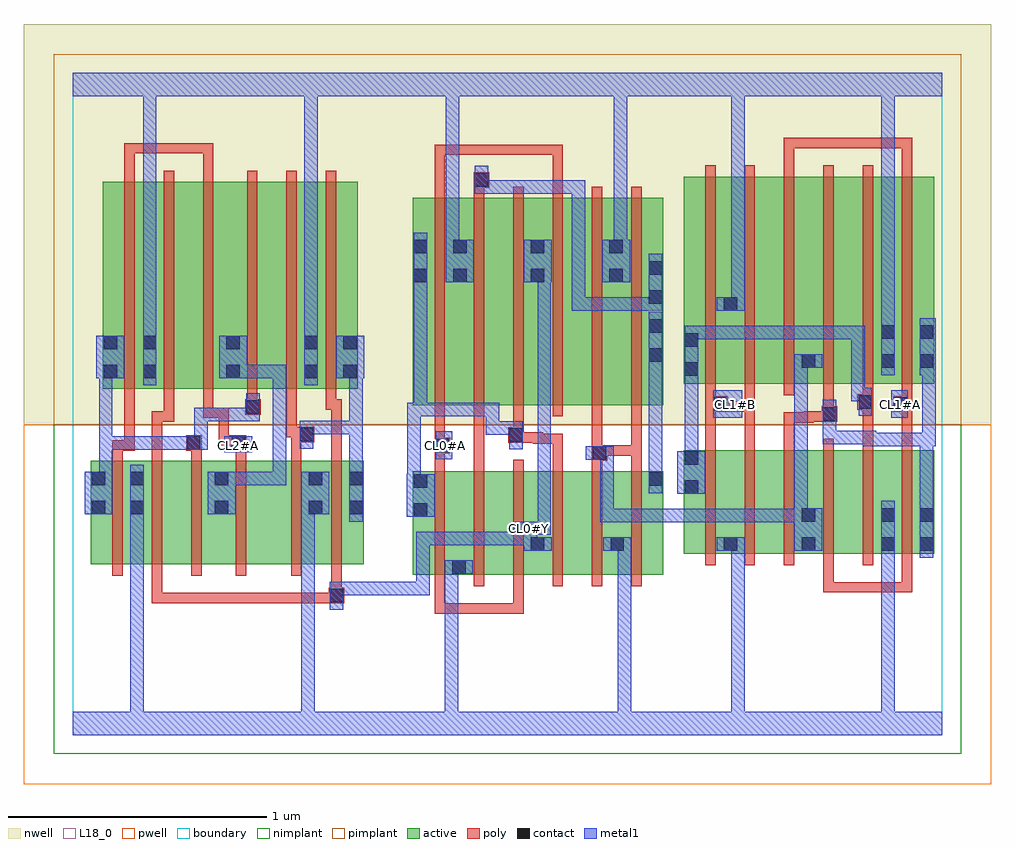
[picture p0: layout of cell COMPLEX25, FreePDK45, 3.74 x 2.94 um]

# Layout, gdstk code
import gdstk
lib = gdstk.Library(unit=1e-6, precision=1e-09)
def R(c, l, rs):  # rectangles x0, y0, x1, y1
    for r in rs: c.add(gdstk.rectangle(r[:2], r[2:], *l))
def A(c, l, x, y, w, h, nx, ny, dx, dy):  # array of equal rectangles
    R(c, l, [(x+i*dx, y+j*dy, x+i*dx+w, y+j*dy+h) for i in range(nx) for j in range(ny)])
active = (1, 0)
pwell = (2, 0)
nwell = (3, 0)
nimplant = (4, 0)
pimplant = (5, 0)
poly = (9, 0)
contact = (10, 0)
metal1 = (11, 0)
L18_0 = (18, 0)
boundary = (235, 0)

complex25 = lib.new_cell('COMPLEX25')
R(complex25, active, [(1.314,0.62,1.522,1.02), (1.462,0.62,1.646,1.02), (1.462,0.62,1.522,0.68), (1.646,0.62,1.826,1.02), (1.766,0.62,1.95,1.02), (1.95,0.62,2.134,1.02), (2.074,0.62,2.282,1.02), (0.07,0.66,0.278,1.06), (0.218,0.66,0.402,1.06), (0.218,0.66,0.278,1.022), (0.402,0.66,0.606,1.06), (0.546,0.66,0.788,1.06), (0.788,0.66,0.968,1.06), (0.908,0.66,1.124,1.06), (0.908,0.66,0.968,1.022), (2.36,0.702,2.572,1.102), (2.512,0.702,2.572,1.102), (2.512,0.702,2.692,1.102), (2.692,0.702,2.872,1.102), (2.812,0.702,2.872,1.102), (2.812,0.702,2.996,1.102), (2.996,0.702,3.18,1.102), (3.12,0.702,3.18,1.102), (3.12,0.702,3.328,1.102), (3.268,0.702,3.328,1.102), (1.766,0.71,1.826,0.77), (2.074,0.71,2.134,0.77), (0.07,0.756,0.13,1.06), (0.546,0.756,0.606,1.06), (1.064,0.756,1.124,1.06), (1.314,0.756,1.374,1.02), (2.222,0.756,2.282,1.02), (2.36,0.756,2.42,1.102), (1.314,1.276,1.526,2.076), (1.314,1.276,1.374,2.044), (1.466,1.276,1.646,2.076), (1.646,1.276,1.826,2.076), (1.766,1.276,1.95,2.076), (1.95,1.276,2.13,2.076), (2.07,1.276,2.282,2.076), (2.222,1.276,2.282,2.044), (0.116,1.338,0.328,2.138), (0.116,1.338,0.176,2.044), (0.268,1.338,0.448,2.138), (0.448,1.338,0.65,2.138), (0.59,1.338,0.77,2.138), (0.59,1.338,0.65,2.044), (0.77,1.338,0.95,2.138), (0.89,1.338,1.102,2.138), (0.89,1.338,0.95,2.044), (1.042,1.338,1.102,2.044), (2.36,1.358,2.42,2.044), (2.36,1.358,2.572,2.158), (2.512,1.358,2.692,2.158), (2.692,1.358,2.872,2.158), (2.812,1.358,2.996,2.158), (2.996,1.358,3.18,2.158), (3.12,1.358,3.328,2.158), (3.268,1.358,3.328,2.044), (0.268,1.376,0.328,2.044), (2.812,1.416,2.872,2.044), (3.12,1.416,3.18,2.044), (2.512,1.636,2.572,2.044), (1.466,1.65,1.526,2.044), (1.766,1.65,1.826,2.044), (2.07,1.686,2.13,2.044)])
R(complex25, pwell, [(-0.188,-0.188,3.548,1.2)])
R(complex25, nwell, [(-0.188,1.2,3.548,2.748)])
R(complex25, nimplant, [(-0.072,-0.072,3.432,1.2)])
R(complex25, pimplant, [(-0.072,1.2,3.432,2.632)])
A(complex25, poly, 1.398, 0.576, 0.04, 0.488, 6, 1, 0.152, 0)
A(complex25, poly, 0.154, 0.616, 0.04, 0.488, 3, 1, 0.152, 0)
A(complex25, poly, 2.444, 0.658, 0.04, 0.488, 6, 1, 0.152, 0)
A(complex25, poly, 1.398, 1.232, 0.04, 0.888, 6, 1, 0.152, 0)
A(complex25, poly, 0.2, 1.294, 0.04, 0.888, 3, 1, 0.152, 0)
A(complex25, poly, 0.674, 1.294, 0.04, 0.888, 3, 1, 0.152, 0)
A(complex25, poly, 2.444, 1.314, 0.04, 0.888, 6, 1, 0.152, 0)
R(complex25, poly, [(1.398,0.47,1.438,0.616), (1.398,0.47,1.438,0.51), (1.398,0.47,1.438,0.51), (1.398,0.47,1.438,0.51), (1.398,0.47,1.606,0.51), (1.566,0.47,1.606,0.51), (1.566,0.47,1.606,0.51), (1.566,0.47,1.606,0.51), (1.566,0.47,1.742,0.51), (1.702,0.47,1.742,0.616), (1.702,0.47,1.742,0.51), (0.306,0.51,0.346,0.656), (0.306,0.51,0.346,0.55), (0.306,0.51,0.346,0.55), (0.306,0.51,0.346,0.55), (0.306,0.51,0.506,0.55), (0.466,0.51,0.506,0.55), (0.466,0.51,0.506,0.55), (0.466,0.51,0.506,0.55), (0.466,0.51,0.748,0.55), (0.708,0.51,0.748,0.55), (0.708,0.51,0.748,0.55), (0.708,0.51,0.748,0.55), (0.708,0.51,0.854,0.55), (0.814,0.51,0.854,0.55), (0.814,0.51,0.854,0.55), (0.814,0.51,0.854,0.55), (0.814,0.51,1.03,0.55), (0.99,0.51,1.05,0.57), (1,0.53,1.04,0.656), (2.9,0.552,2.94,0.698), (2.9,0.552,2.94,0.592), (2.9,0.552,3.104,0.592), (3.064,0.552,3.104,0.592), (3.064,0.552,3.104,0.592), (3.064,0.552,3.104,0.592), (3.064,0.552,3.244,0.592), (3.204,0.552,3.244,0.698), (3.204,0.552,3.244,0.592), (3.204,0.552,3.244,0.592), (3.204,0.552,3.244,0.592), (0.63,0.616,0.67,1.104), (0.844,0.616,0.884,1.104), (1,0.616,1.04,1.104), (1.398,1.024,1.438,1.13), (1.55,1.024,1.59,1.1), (1.854,1.024,1.894,1.166), (2.006,1.024,2.046,1.1), (2.158,1.024,2.198,1.12), (1.55,1.06,1.59,1.1), (1.55,1.06,1.59,1.1), (1.55,1.06,1.59,1.1), (1.55,1.06,1.59,1.272), (2.006,1.06,2.066,1.12), (0.154,1.064,0.194,1.14), (0.306,1.064,0.346,1.252), (0.458,1.064,0.498,1.14), (0.63,1.064,0.67,1.14), (0.844,1.064,0.884,1.172), (1,1.064,1.04,1.298), (2.006,1.08,2.046,1.12), (2.006,1.08,2.046,1.12), (2.006,1.08,2.046,1.272), (2.026,1.08,2.066,1.12), (2.026,1.08,2.066,1.12), (2.026,1.08,2.198,1.12), (2.158,1.08,2.198,1.12), (2.158,1.08,2.198,1.12), (2.158,1.08,2.198,1.12), (2.158,1.08,2.198,1.272), (1.398,1.09,1.458,1.15), (0.154,1.1,0.194,1.14), (0.154,1.1,0.194,1.14), (0.154,1.1,0.24,1.14), (0.2,1.1,0.24,1.334), (0.438,1.1,0.498,1.16), (0.61,1.1,0.67,1.16), (2.444,1.106,2.484,1.29), (2.596,1.106,2.636,1.29), (2.748,1.106,2.788,1.248), (3.052,1.106,3.092,1.298), (3.204,1.106,3.244,1.29), (1.398,1.11,1.438,1.15), (1.398,1.11,1.438,1.15), (1.398,1.11,1.438,1.272), (0.564,1.12,0.604,1.266), (0.564,1.12,0.604,1.16), (0.564,1.12,0.65,1.16), (1.778,1.126,1.894,1.166), (1.778,1.126,1.818,1.17), (1.854,1.126,1.894,1.166), (1.854,1.126,1.894,1.166), (1.854,1.126,1.894,1.166), (1.682,1.13,1.742,1.19), (1.702,1.13,1.818,1.17), (0.844,1.132,0.934,1.192), (1.702,1.15,1.742,1.272), (0.826,1.152,0.866,1.334), (0.826,1.152,0.884,1.192), (0.844,1.152,0.884,1.192), (2.748,1.208,2.788,1.248), (2.748,1.208,2.864,1.248), (2.824,1.208,2.864,1.252), (0.306,1.212,0.346,1.252), (0.306,1.212,0.346,1.252), (0.306,1.212,0.392,1.252), (0.352,1.212,0.392,1.334), (2.824,1.212,2.934,1.252), (2.894,1.212,2.954,1.272), (0.504,1.226,0.544,1.266), (0.504,1.226,0.544,1.334), (0.504,1.226,0.604,1.266), (0.564,1.226,0.604,1.266), (2.9,1.232,2.94,1.272), (2.9,1.232,2.94,1.272), (2.9,1.232,2.94,1.354), (0.666,1.238,0.726,1.298), (2.444,1.25,2.484,1.29), (2.444,1.25,2.484,1.29), (2.444,1.25,2.53,1.31), (2.49,1.25,2.636,1.29), (2.596,1.25,2.636,1.29), (2.596,1.25,2.636,1.29), (2.596,1.25,2.636,1.29), (2.596,1.25,2.636,1.29), (2.596,1.25,2.636,1.29), (2.596,1.25,2.636,1.354), (3.17,1.25,3.244,1.31), (3.204,1.25,3.244,1.29), (3.204,1.25,3.244,1.29), (0.674,1.258,0.714,1.334), (0.978,1.258,1.018,1.334), (0.978,1.258,1.04,1.298), (1,1.258,1.04,1.298), (1,1.258,1.04,1.298), (3.032,1.258,3.092,1.318), (3.052,1.258,3.092,1.298), (3.052,1.258,3.092,1.298), (2.444,1.27,2.484,1.354), (3.204,1.27,3.244,1.354), (3.052,1.278,3.092,1.354), (1.398,2.08,1.438,2.282), (1.55,2.08,1.59,2.156), (1.854,2.08,1.894,2.282), (1.55,2.116,1.61,2.176), (0.2,2.142,0.24,2.288), (0.504,2.142,0.544,2.288), (2.748,2.162,2.788,2.308), (3.204,2.162,3.244,2.308), (1.398,2.242,1.438,2.282), (1.398,2.242,1.438,2.282), (1.398,2.242,1.438,2.282), (1.398,2.242,1.438,2.282), (1.398,2.242,1.438,2.282), (1.398,2.242,1.606,2.282), (1.566,2.242,1.606,2.282), (1.566,2.242,1.712,2.282), (1.672,2.242,1.712,2.282), (1.672,2.242,1.712,2.282), (1.672,2.242,1.712,2.282), (1.672,2.242,1.894,2.282), (1.854,2.242,1.894,2.282), (1.854,2.242,1.894,2.282), (1.854,2.242,1.894,2.282), (1.854,2.242,1.894,2.282), (1.854,2.242,1.894,2.282), (0.2,2.248,0.24,2.288), (0.2,2.248,0.24,2.288), (0.2,2.248,0.24,2.288), (0.2,2.248,0.358,2.288), (0.318,2.248,0.358,2.288), (0.318,2.248,0.358,2.288), (0.318,2.248,0.358,2.288), (0.318,2.248,0.544,2.288), (0.504,2.248,0.544,2.288), (2.748,2.268,2.788,2.308), (2.748,2.268,2.894,2.308), (2.854,2.268,2.894,2.308), (2.854,2.268,2.894,2.308), (2.854,2.268,2.894,2.308), (2.854,2.268,3.104,2.308), (3.064,2.268,3.104,2.308), (3.064,2.268,3.104,2.308), (3.064,2.268,3.104,2.308), (3.064,2.268,3.244,2.308), (3.204,2.268,3.244,2.308), (3.204,2.268,3.244,2.308), (3.204,2.268,3.244,2.308)])
A(complex25, contact, 2.226, 1.444, 0.052, 0.052, 1, 4, 0, 0.112)
R(complex25, contact, [(0.994,0.514,1.046,0.566), (1.466,0.624,1.518,0.676), (1.77,0.714,1.822,0.766), (2.078,0.714,2.13,0.766), (2.516,0.714,2.568,0.766), (2.816,0.714,2.868,0.766), (3.124,0.714,3.176,0.766), (3.272,0.714,3.324,0.766), (2.816,0.826,2.868,0.878), (3.124,0.826,3.176,0.878), (3.272,0.826,3.324,0.878), (1.318,0.844,1.37,0.896), (0.074,0.854,0.126,0.906), (0.222,0.854,0.274,0.906), (0.55,0.854,0.602,0.906), (0.912,0.854,0.964,0.906), (1.068,0.854,1.12,0.906), (2.364,0.934,2.416,0.986), (1.318,0.956,1.37,1.008), (2.226,0.964,2.278,1.016), (0.074,0.966,0.126,1.018), (0.222,0.966,0.274,1.018), (0.55,0.966,0.602,1.018), (0.912,0.966,0.964,1.018), (1.068,0.966,1.12,1.018), (2.364,1.046,2.416,1.098), (2.01,1.064,2.062,1.116), (1.402,1.094,1.454,1.146), (0.442,1.104,0.494,1.156), (0.614,1.104,0.666,1.156), (1.686,1.134,1.738,1.186), (0.878,1.136,0.93,1.188), (2.898,1.216,2.95,1.268), (0.67,1.242,0.722,1.294), (2.474,1.254,2.526,1.306), (3.174,1.254,3.226,1.306), (3.036,1.262,3.088,1.314), (0.12,1.38,0.172,1.432), (0.272,1.38,0.324,1.432), (0.594,1.38,0.646,1.432), (0.894,1.38,0.946,1.432), (1.046,1.38,1.098,1.432), (2.364,1.39,2.416,1.442), (2.816,1.42,2.868,1.472), (3.124,1.42,3.176,1.472), (3.272,1.42,3.324,1.472), (0.12,1.492,0.172,1.544), (0.272,1.492,0.324,1.544), (0.594,1.492,0.646,1.544), (0.894,1.492,0.946,1.544), (1.046,1.492,1.098,1.544), (2.364,1.502,2.416,1.554), (3.124,1.532,3.176,1.584), (3.272,1.532,3.324,1.584), (2.516,1.64,2.568,1.692), (1.318,1.75,1.37,1.802), (1.47,1.75,1.522,1.802), (1.77,1.75,1.822,1.802), (2.074,1.75,2.126,1.802), (1.318,1.862,1.37,1.914), (1.47,1.862,1.522,1.914), (1.77,1.862,1.822,1.914), (2.074,1.862,2.126,1.914), (1.554,2.12,1.606,2.172)])
A(complex25, metal1, 0.25, 1.104, 0.052, 0.052, 3, 1, 0.11, 0)
R(complex25, metal1, [(0,0,3.36,0.092), (0.222,0.04,0.274,0.092), (0.222,0.04,0.274,0.092), (0.222,0.04,0.274,0.878), (0.884,0.04,0.936,0.092), (0.884,0.04,0.936,0.092), (0.884,0.04,0.936,0.092), (0.884,0.04,0.936,0.092), (0.884,0.04,0.936,0.092), (0.884,0.04,0.936,0.092), (0.884,0.04,0.936,0.092), (0.884,0.04,0.936,0.092), (0.884,0.04,0.936,0.092), (0.884,0.04,0.936,0.092), (0.884,0.04,0.936,0.906), (1.438,0.04,1.49,0.092), (1.438,0.04,1.49,0.092), (1.438,0.04,1.49,0.092), (1.438,0.04,1.49,0.092), (1.438,0.04,1.49,0.092), (1.438,0.04,1.49,0.092), (1.438,0.04,1.49,0.676), (2.106,0.04,2.158,0.092), (2.106,0.04,2.158,0.092), (2.106,0.04,2.158,0.092), (2.106,0.04,2.158,0.092), (2.106,0.04,2.158,0.092), (2.106,0.04,2.158,0.092), (2.106,0.04,2.158,0.092), (2.106,0.04,2.158,0.092), (2.106,0.04,2.158,0.092), (2.106,0.04,2.158,0.092), (2.106,0.04,2.158,0.092), (2.106,0.04,2.158,0.092), (2.106,0.04,2.158,0.766), (2.544,0.04,2.596,0.092), (2.544,0.04,2.596,0.092), (2.544,0.04,2.596,0.092), (2.544,0.04,2.596,0.092), (2.544,0.04,2.596,0.092), (2.544,0.04,2.596,0.092), (2.544,0.04,2.596,0.092), (2.544,0.04,2.596,0.092), (2.544,0.04,2.596,0.092), (2.544,0.04,2.596,0.092), (2.544,0.04,2.596,0.766), (3.124,0.04,3.176,0.092), (3.124,0.04,3.176,0.092), (3.124,0.04,3.176,0.092), (3.124,0.04,3.176,0.092), (3.124,0.04,3.176,0.092), (3.124,0.04,3.176,0.092), (3.124,0.04,3.176,0.092), (3.124,0.04,3.176,0.092), (3.124,0.04,3.176,0.738), (0.994,0.486,1.046,0.594), (0.994,0.542,1.046,0.594), (0.994,0.542,1.046,0.594), (0.994,0.542,1.38,0.594), (1.328,0.542,1.38,0.594), (1.328,0.542,1.38,0.594), (1.328,0.542,1.38,0.594), (1.328,0.542,1.38,0.786), (1.438,0.624,1.49,0.676), (1.438,0.624,1.49,0.676), (1.438,0.624,1.49,0.676), (1.438,0.624,1.49,0.676), (1.438,0.624,1.49,0.676), (1.438,0.624,1.49,0.676), (1.438,0.624,1.546,0.676), (3.124,0.686,3.176,0.738), (3.124,0.686,3.176,0.738), (3.124,0.686,3.176,0.738), (3.124,0.686,3.176,0.738), (3.124,0.686,3.176,0.906), (3.272,0.686,3.324,0.906), (1.742,0.714,1.794,0.766), (1.742,0.714,1.794,0.766), (1.742,0.714,1.794,0.766), (1.742,0.714,1.794,0.766), (1.742,0.714,1.794,0.766), (1.742,0.714,1.85,0.766), (1.742,0.714,1.794,0.826), (1.742,0.714,1.794,0.786), (2.05,0.714,2.158,0.766), (2.488,0.714,2.596,0.766), (2.544,0.714,2.596,0.766), (2.544,0.714,2.596,0.766), (2.788,0.714,2.896,0.878), (1.328,0.734,1.38,0.786), (1.328,0.734,1.38,0.786), (1.328,0.734,1.38,0.786), (1.328,0.734,1.496,0.786), (1.444,0.734,1.496,0.786), (1.444,0.734,1.496,0.786), (1.444,0.734,1.496,0.786), (1.444,0.734,1.648,0.786), (1.596,0.734,1.648,0.786), (1.596,0.734,1.794,0.786), (1.706,0.774,1.848,0.826), (1.796,0.774,1.848,0.826), (1.796,0.774,1.848,0.826), (1.796,0.774,1.848,1.802), (2.038,0.824,2.09,0.876), (2.038,0.824,2.2,0.876), (2.038,0.824,2.09,1.116), (2.148,0.824,2.2,0.876), (2.148,0.824,2.2,0.876), (2.148,0.824,2.2,0.876), (2.148,0.824,2.43,0.876), (2.378,0.824,2.43,0.876), (2.378,0.824,2.43,0.876), (2.378,0.824,2.43,0.876), (2.378,0.824,2.54,0.876), (2.488,0.824,2.54,0.876), (2.488,0.824,2.54,0.876), (2.488,0.824,2.54,0.876), (2.488,0.824,2.73,0.876), (2.678,0.824,2.73,0.876), (2.678,0.824,2.73,0.876), (2.678,0.824,2.73,0.876), (2.678,0.824,2.84,0.876), (0.222,0.826,0.274,0.878), (0.222,0.826,0.274,0.878), (0.222,0.826,0.274,0.878), (0.222,0.826,0.274,0.878), (0.222,0.826,0.274,0.878), (0.222,0.826,0.274,0.878), (0.222,0.826,0.274,0.878), (0.222,0.826,0.274,0.878), (0.222,0.826,0.274,0.878), (0.222,0.826,0.274,0.878), (0.222,0.826,0.274,1.046), (1.068,0.826,1.12,1.046), (2.788,0.826,2.84,0.878), (2.788,0.826,2.84,0.878), (2.788,0.826,2.84,0.878), (2.788,0.826,2.84,0.878), (2.788,0.826,2.84,0.878), (2.788,0.826,2.84,0.878), (2.788,0.826,2.84,1.472), (1.29,0.844,1.398,1.008), (0.046,0.854,0.154,1.018), (0.522,0.854,0.63,1.018), (0.884,0.854,0.936,0.906), (0.884,0.854,0.936,0.906), (0.884,0.854,0.992,1.018), (3.272,0.854,3.324,1.168), (2.336,0.934,2.444,1.098), (2.226,0.936,2.278,1.044), (1.292,0.956,1.344,1.284), (0.102,0.966,0.154,1.156), (0.578,0.966,0.82,1.018), (0.768,0.966,0.82,1.018), (0.768,0.966,0.826,1.018), (0.774,0.966,0.826,1.018), (0.774,0.966,0.826,1.118), (2.226,0.992,2.278,1.044), (2.226,0.992,2.278,1.044), (2.226,0.992,2.278,1.044), (2.226,0.992,2.278,1.044), (2.226,0.992,2.278,1.468), (1.068,0.994,1.12,1.216), (2.364,1.046,2.416,1.098), (2.364,1.046,2.416,1.098), (2.364,1.046,2.416,1.414), (1.982,1.064,2.09,1.116), (2.038,1.064,2.09,1.116), (2.038,1.064,2.09,1.116), (2.038,1.064,2.09,1.116), (2.038,1.064,2.09,1.116), (0.774,1.066,0.826,1.174), (1.402,1.066,1.466,1.174), (0.586,1.094,0.694,1.156), (0.102,1.104,0.154,1.156), (0.102,1.104,0.154,1.156), (0.102,1.104,0.154,1.156), (0.102,1.104,0.154,1.156), (0.102,1.104,0.154,1.156), (0.102,1.104,0.154,1.432), (0.102,1.104,0.302,1.156), (0.25,1.104,0.302,1.156), (0.25,1.104,0.302,1.156), (0.25,1.104,0.412,1.156), (0.36,1.104,0.466,1.156), (0.414,1.104,0.522,1.156), (0.47,1.104,0.522,1.156), (0.47,1.104,0.522,1.266), (1.686,1.106,1.738,1.214), (0.878,1.108,0.93,1.216), (3.052,1.116,3.214,1.168), (3.052,1.116,3.104,1.176), (3.162,1.116,3.214,1.168), (3.162,1.116,3.214,1.168), (3.162,1.116,3.214,1.168), (3.162,1.116,3.324,1.168), (3.272,1.116,3.334,1.168), (3.282,1.116,3.334,1.444), (0.774,1.122,0.826,1.174), (0.774,1.122,0.826,1.174), (0.774,1.122,0.826,1.432), (2.898,1.124,2.95,1.232), (2.898,1.124,3.104,1.176), (1.596,1.162,1.738,1.214), (1.596,1.162,1.648,1.284), (0.878,1.164,0.936,1.216), (0.884,1.164,0.936,1.216), (0.884,1.164,1.12,1.216), (1.068,1.164,1.12,1.216), (1.068,1.164,1.12,1.216), (1.068,1.164,1.12,1.216), (1.068,1.164,1.12,1.216), (1.068,1.164,1.12,1.216), (1.068,1.164,1.12,1.432), (2.898,1.18,2.95,1.232), (2.898,1.18,2.95,1.296), (0.47,1.214,0.522,1.266), (0.47,1.214,0.722,1.266), (0.67,1.214,0.722,1.322), (2.474,1.226,2.586,1.334), (3.162,1.226,3.226,1.334), (1.292,1.232,1.344,1.284), (1.292,1.232,1.344,1.284), (1.292,1.232,1.37,1.284), (1.318,1.232,1.37,1.284), (1.318,1.232,1.37,1.284), (1.318,1.232,1.49,1.284), (1.318,1.232,1.37,1.774), (1.438,1.232,1.49,1.284), (1.438,1.232,1.49,1.284), (1.438,1.232,1.49,1.284), (1.438,1.232,1.648,1.284), (3.036,1.234,3.088,1.342), (3.008,1.29,3.06,1.342), (3.008,1.29,3.088,1.342), (3.008,1.29,3.06,1.582), (0.272,1.352,0.324,1.572), (0.894,1.352,0.946,1.572), (2.364,1.362,2.416,1.414), (2.364,1.362,2.416,1.414), (2.364,1.362,2.416,1.582), (0.092,1.38,0.2,1.544), (0.566,1.38,0.674,1.544), (0.622,1.38,0.674,1.432), (0.622,1.38,0.674,1.432), (0.622,1.38,0.826,1.432), (0.774,1.38,0.826,1.432), (1.018,1.38,1.126,1.544), (3.124,1.392,3.176,1.612), (3.272,1.392,3.334,1.612), (3.282,1.392,3.334,1.444), (3.282,1.392,3.334,1.444), (2.226,1.416,2.278,1.636), (2.788,1.42,2.896,1.472), (0.272,1.52,0.324,1.572), (0.272,1.52,0.324,1.572), (0.272,1.52,0.324,1.572), (0.272,1.52,0.324,1.572), (0.272,1.52,0.324,1.572), (0.272,1.52,0.324,1.572), (0.272,1.52,0.324,2.52), (0.894,1.52,0.946,1.572), (0.894,1.52,0.946,1.572), (0.894,1.52,0.946,2.52), (2.364,1.53,2.416,1.582), (2.364,1.53,2.416,1.582), (2.364,1.53,2.416,1.582), (2.364,1.53,2.416,1.582), (2.364,1.53,2.62,1.582), (2.568,1.53,2.62,1.582), (2.568,1.53,2.62,1.582), (2.568,1.53,2.62,1.582), (2.568,1.53,2.73,1.582), (2.678,1.53,2.73,1.582), (2.678,1.53,2.73,1.582), (2.678,1.53,2.73,1.582), (2.678,1.53,2.84,1.582), (2.788,1.53,2.84,1.582), (2.788,1.53,2.84,1.582), (2.788,1.53,2.84,1.582), (2.788,1.53,3.06,1.582), (3.008,1.53,3.06,1.582), (3.008,1.53,3.06,1.582), (3.008,1.53,3.06,1.582), (3.124,1.56,3.176,1.612), (3.124,1.56,3.176,1.612), (3.124,1.56,3.176,2.52), (1.928,1.64,1.98,1.692), (1.928,1.64,1.98,1.692), (1.928,1.64,1.98,1.692), (1.928,1.64,2.09,1.692), (1.928,1.64,1.98,2.144), (2.038,1.64,2.09,1.692), (2.038,1.64,2.09,1.692), (2.038,1.64,2.09,1.692), (2.038,1.64,2.278,1.692), (2.226,1.64,2.278,1.692), (2.226,1.64,2.278,1.692), (2.226,1.64,2.278,1.86), (2.488,1.64,2.596,1.692), (2.544,1.64,2.596,1.692), (2.544,1.64,2.596,1.692), (2.544,1.64,2.596,1.692), (2.544,1.64,2.596,1.692), (2.544,1.64,2.596,1.692), (2.544,1.64,2.596,1.692), (2.544,1.64,2.596,1.692), (2.544,1.64,2.596,1.692), (2.544,1.64,2.596,2.52), (1.318,1.722,1.37,1.942), (1.442,1.75,1.55,1.914), (1.742,1.75,1.85,1.914), (2.046,1.75,2.154,1.914), (1.442,1.862,1.494,1.914), (1.442,1.862,1.494,1.914), (1.442,1.862,1.494,1.914), (1.442,1.862,1.494,1.914), (1.442,1.862,1.494,1.914), (1.442,1.862,1.494,1.914), (1.442,1.862,1.494,1.914), (1.442,1.862,1.494,1.914), (1.442,1.862,1.494,2.52), (2.09,1.862,2.142,1.914), (2.09,1.862,2.142,1.914), (2.09,1.862,2.142,1.914), (2.09,1.862,2.142,1.914), (2.09,1.862,2.142,1.914), (2.09,1.862,2.142,1.914), (2.09,1.862,2.142,1.914), (2.09,1.862,2.142,1.914), (2.09,1.862,2.142,2.52), (1.554,2.092,1.606,2.144), (1.554,2.092,1.606,2.144), (1.554,2.092,1.606,2.2), (1.554,2.092,1.814,2.144), (1.762,2.092,1.814,2.144), (1.762,2.092,1.814,2.144), (1.762,2.092,1.814,2.144), (1.762,2.092,1.924,2.144), (1.872,2.092,1.924,2.144), (1.872,2.092,1.98,2.144), (1.928,2.092,1.98,2.144), (0,2.468,3.36,2.56), (0.272,2.468,0.324,2.52), (0.272,2.468,0.324,2.52), (0.894,2.468,0.946,2.52), (0.894,2.468,0.946,2.52), (0.894,2.468,0.946,2.52), (0.894,2.468,0.946,2.52), (0.894,2.468,0.946,2.52), (0.894,2.468,0.946,2.52), (3.124,2.468,3.176,2.52), (3.124,2.468,3.176,2.52), (3.124,2.468,3.176,2.52), (3.124,2.468,3.176,2.52), (3.124,2.468,3.176,2.52), (3.124,2.468,3.176,2.52)])
R(complex25, L18_0, [(0,0,3.36,0.092), (0.222,0.04,0.274,0.092), (0.222,0.04,0.274,0.092), (0.222,0.04,0.274,0.878), (0.884,0.04,0.936,0.092), (0.884,0.04,0.936,0.092), (0.884,0.04,0.936,0.092), (0.884,0.04,0.936,0.092), (0.884,0.04,0.936,0.092), (0.884,0.04,0.936,0.092), (0.884,0.04,0.936,0.092), (0.884,0.04,0.936,0.092), (0.884,0.04,0.936,0.092), (0.884,0.04,0.936,0.092), (0.884,0.04,0.936,0.906), (1.438,0.04,1.49,0.092), (1.438,0.04,1.49,0.092), (1.438,0.04,1.49,0.092), (1.438,0.04,1.49,0.092), (1.438,0.04,1.49,0.092), (1.438,0.04,1.49,0.092), (1.438,0.04,1.49,0.676), (2.106,0.04,2.158,0.092), (2.106,0.04,2.158,0.092), (2.106,0.04,2.158,0.092), (2.106,0.04,2.158,0.092), (2.106,0.04,2.158,0.092), (2.106,0.04,2.158,0.092), (2.106,0.04,2.158,0.092), (2.106,0.04,2.158,0.092), (2.106,0.04,2.158,0.092), (2.106,0.04,2.158,0.092), (2.106,0.04,2.158,0.092), (2.106,0.04,2.158,0.092), (2.106,0.04,2.158,0.766), (2.544,0.04,2.596,0.092), (2.544,0.04,2.596,0.092), (2.544,0.04,2.596,0.092), (2.544,0.04,2.596,0.092), (2.544,0.04,2.596,0.092), (2.544,0.04,2.596,0.092), (2.544,0.04,2.596,0.092), (2.544,0.04,2.596,0.092), (2.544,0.04,2.596,0.092), (2.544,0.04,2.596,0.092), (2.544,0.04,2.596,0.766), (3.124,0.04,3.176,0.092), (3.124,0.04,3.176,0.092), (3.124,0.04,3.176,0.092), (3.124,0.04,3.176,0.092), (3.124,0.04,3.176,0.092), (3.124,0.04,3.176,0.092), (3.124,0.04,3.176,0.092), (3.124,0.04,3.176,0.092), (3.124,0.04,3.176,0.738), (0.994,0.486,1.046,0.594), (0.994,0.542,1.046,0.594), (0.994,0.542,1.046,0.594), (0.994,0.542,1.38,0.594), (1.328,0.542,1.38,0.594), (1.328,0.542,1.38,0.594), (1.328,0.542,1.38,0.594), (1.328,0.542,1.38,0.786), (1.438,0.624,1.49,0.676), (1.438,0.624,1.49,0.676), (1.438,0.624,1.49,0.676), (1.438,0.624,1.49,0.676), (1.438,0.624,1.49,0.676), (1.438,0.624,1.49,0.676), (1.438,0.624,1.546,0.676), (3.124,0.686,3.176,0.738), (3.124,0.686,3.176,0.738), (3.124,0.686,3.176,0.738), (3.124,0.686,3.176,0.738), (3.124,0.686,3.176,0.906), (1.742,0.714,1.794,0.766), (1.742,0.714,1.794,0.766), (1.742,0.714,1.794,0.766), (1.742,0.714,1.794,0.766), (1.742,0.714,1.794,0.766), (1.742,0.714,1.85,0.766), (1.742,0.714,1.794,0.786), (1.742,0.714,1.794,0.826), (2.05,0.714,2.158,0.766), (2.488,0.714,2.596,0.766), (2.544,0.714,2.596,0.766), (2.544,0.714,2.596,0.766), (1.328,0.734,1.38,0.786), (1.328,0.734,1.38,0.786), (1.328,0.734,1.38,0.786), (1.328,0.734,1.496,0.786), (1.444,0.734,1.496,0.786), (1.444,0.734,1.496,0.786), (1.444,0.734,1.496,0.786), (1.444,0.734,1.648,0.786), (1.596,0.734,1.648,0.786), (1.596,0.734,1.794,0.786), (1.706,0.774,1.848,0.826), (1.734,0.774,1.786,0.826), (1.796,0.774,1.848,0.826), (1.796,0.774,1.848,0.826), (1.796,0.774,1.848,1.802), (0.222,0.826,0.274,0.878), (0.222,0.826,0.274,0.878), (0.222,0.826,0.274,0.878), (0.222,0.826,0.274,0.878), (0.222,0.826,0.274,0.878), (0.222,0.826,0.274,0.878), (0.222,0.826,0.274,0.878), (0.222,0.826,0.274,0.878), (0.222,0.826,0.274,0.878), (0.222,0.826,0.274,0.878), (0.222,0.826,0.274,1.046), (0.522,0.854,0.63,1.018), (0.884,0.854,0.936,0.906), (0.884,0.854,0.936,0.906), (0.884,0.854,0.992,1.018), (0.578,0.966,0.82,1.018), (0.768,0.966,0.82,1.018), (0.768,0.966,0.826,1.018), (0.774,0.966,0.826,1.018), (0.774,0.966,0.826,1.118), (0.774,1.066,0.826,1.174), (1.402,1.066,1.466,1.174), (0.586,1.094,0.694,1.156), (0.614,1.094,0.666,1.146), (0.774,1.094,0.826,1.146), (1.414,1.094,1.466,1.146), (0.774,1.122,0.826,1.174), (0.774,1.122,0.826,1.174), (0.774,1.122,0.826,1.432), (2.474,1.226,2.586,1.334), (3.162,1.226,3.226,1.334), (2.534,1.254,2.586,1.306), (3.174,1.254,3.226,1.306), (0.272,1.352,0.324,1.572), (0.894,1.352,0.946,1.572), (0.566,1.38,0.674,1.544), (0.622,1.38,0.674,1.432), (0.622,1.38,0.674,1.432), (0.622,1.38,0.826,1.432), (0.774,1.38,0.826,1.432), (3.124,1.392,3.176,1.612), (0.272,1.52,0.324,1.572), (0.272,1.52,0.324,1.572), (0.272,1.52,0.324,1.572), (0.272,1.52,0.324,1.572), (0.272,1.52,0.324,1.572), (0.272,1.52,0.324,1.572), (0.272,1.52,0.324,2.52), (0.894,1.52,0.946,1.572), (0.894,1.52,0.946,1.572), (0.894,1.52,0.946,2.52), (3.124,1.56,3.176,1.612), (3.124,1.56,3.176,1.612), (3.124,1.56,3.176,2.52), (2.488,1.64,2.596,1.692), (2.544,1.64,2.596,1.692), (2.544,1.64,2.596,1.692), (2.544,1.64,2.596,1.692), (2.544,1.64,2.596,1.692), (2.544,1.64,2.596,1.692), (2.544,1.64,2.596,1.692), (2.544,1.64,2.596,1.692), (2.544,1.64,2.596,1.692), (2.544,1.64,2.596,2.52), (1.442,1.75,1.55,1.914), (1.742,1.75,1.85,1.914), (2.046,1.75,2.154,1.914), (1.442,1.862,1.494,1.914), (1.442,1.862,1.494,1.914), (1.442,1.862,1.494,1.914), (1.442,1.862,1.494,1.914), (1.442,1.862,1.494,1.914), (1.442,1.862,1.494,1.914), (1.442,1.862,1.494,1.914), (1.442,1.862,1.494,1.914), (1.442,1.862,1.494,2.52), (2.09,1.862,2.142,1.914), (2.09,1.862,2.142,1.914), (2.09,1.862,2.142,1.914), (2.09,1.862,2.142,1.914), (2.09,1.862,2.142,1.914), (2.09,1.862,2.142,1.914), (2.09,1.862,2.142,1.914), (2.09,1.862,2.142,1.914), (2.09,1.862,2.142,2.52), (0,2.468,3.36,2.56), (0.272,2.468,0.324,2.52), (0.272,2.468,0.324,2.52), (0.894,2.468,0.946,2.52), (0.894,2.468,0.946,2.52), (0.894,2.468,0.946,2.52), (0.894,2.468,0.946,2.52), (0.894,2.468,0.946,2.52), (0.894,2.468,0.946,2.52), (3.124,2.468,3.176,2.52), (3.124,2.468,3.176,2.52), (3.124,2.468,3.176,2.52), (3.124,2.468,3.176,2.52), (3.124,2.468,3.176,2.52), (3.124,2.468,3.176,2.52)])
R(complex25, boundary, [(0,0,3.36,2.56)])
complex25.add(gdstk.Label('CL0#A', (1.44,1.12), layer=11, texttype=0))
complex25.add(gdstk.Label('CL0#Y', (1.76,0.8), layer=11, texttype=0))
complex25.add(gdstk.Label('CL1#A', (3.2,1.28), layer=11, texttype=0))
complex25.add(gdstk.Label('CL1#B', (2.56,1.28), layer=11, texttype=0))
complex25.add(gdstk.Label('CL2#A', (0.64,1.12), layer=11, texttype=0))
complex25.add(gdstk.Label('CL2#Y', (0.8,1.12), layer=11, texttype=0))

lib.write_gds('COMPLEX25.gds')
